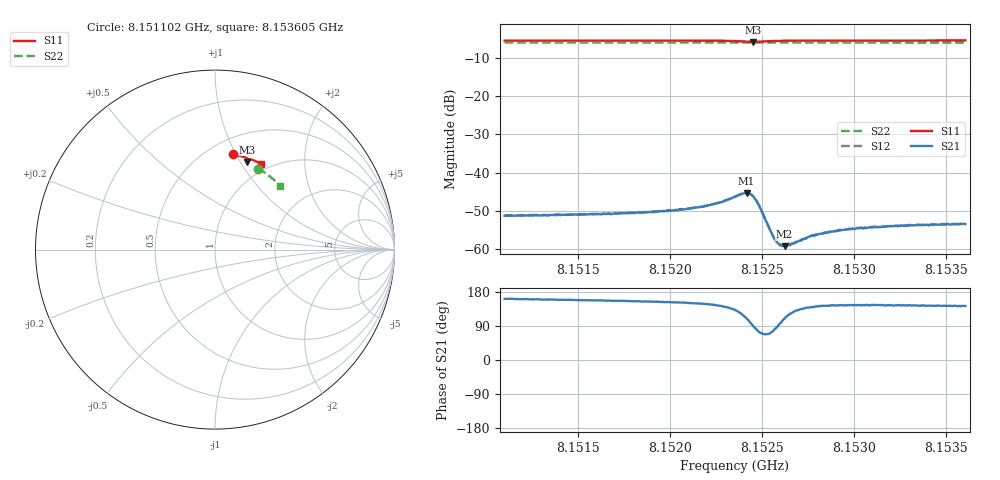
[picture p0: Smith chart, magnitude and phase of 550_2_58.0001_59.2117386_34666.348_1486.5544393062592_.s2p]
#  HZ  S  RI  R  50.00
! Rohde & Schwarz Vector Network Analyzer
! Rohde-Schwarz,ZNB20-2Port,1311601062101988,3.16
! Created: UTC 3/21/2024, 1:14:58 AM
! freq[Hz]  re:S11  im:S11  re:S21  im:S21  re:S12  im:S12  re:S22  im:S22
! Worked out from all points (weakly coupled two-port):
!   401 points, 8.151102 GHz to 8.153605 GHz, reference 50 ohm
!   highest |S21| = -45.37 dB at 8.152416 GHz (marker M1); lowest = -59.3 dB at 8.152622 GHz (marker M2)
!   lowest |S11| = -5.7 dB at 8.152453 GHz (marker M3), VSWR 3.17, Z = 40 + j53.6 ohm
!   |S11| at or under -10 dB: nowhere
!   |S22| runs from -5.9 to -5.8 dB; largest |S21 - S12| = 0.00013
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8.1511016e9  0.0975 0.5306  -0.00256 0.000871  -0.00255 0.000889  0.2397 0.4518
8.1515208e9  0.1268 0.525  -0.00261 0.00108  -0.00261 0.00111  0.2628 0.4379
8.1519401e9  0.156 0.5174  -0.00276 0.00136  -0.00273 0.00145  0.2851 0.4232
8.1520778e9  0.1661 0.5141  -0.00288 0.00157  -0.00288 0.00162  0.2924 0.4179
8.1521717e9  0.1732 0.5115  -0.00303 0.00185  -0.00299 0.0019  0.2971 0.4143
8.1522718e9  0.1814 0.507  -0.00323 0.00245  -0.0032 0.00251  0.3024 0.4104
8.1523532e9  0.1877 0.4998  -0.00323 0.00357  -0.00317 0.00364  0.3063 0.4068
8.1524158e9  0.1867 0.4903  -0.00184 0.00506  -0.00176 0.00509  0.3092 0.4041
8.1524345e9  0.1836 0.4884  -0.000872 0.00515  -0.000822 0.00521  0.31 0.4036
8.1524533e9  0.18 0.4888  8.32e-05 0.00481  0.000154 0.00487  0.3106 0.4029
8.1524846e9  0.1764 0.4934  0.001 0.00349  0.00105 0.00353  0.3121 0.4019
8.1525472e9  0.1809 0.5016  0.000517 0.0016  0.000532 0.0016  0.3153 0.3998
8.1525659e9  0.1831 0.5025  0.000243 0.00135  0.000287 0.00133  0.3164 0.399
8.1525785e9  0.1847 0.5031  0.000107 0.00125  9.79e-05 0.00125  0.3169 0.3985
8.1525972e9  0.1868 0.5035  -0.000129 0.0011  -6.93e-05 0.00114  0.3179 0.3977
8.1526223e9  0.1894 0.5035  -0.000351 0.00102  -0.000333 0.00104  0.3191 0.3969
8.1526598e9  0.1931 0.5033  -0.000638 0.000961  -0.000641 0.000968  0.3212 0.3953
8.1527725e9  0.2028 0.5012  -0.00115 0.000948  -0.00113 0.000944  0.3265 0.3905
8.1528538e9  0.209 0.4993  -0.00131 0.000965  -0.0013 0.000979  0.3304 0.3871
8.1529665e9  0.2168 0.4965  -0.00146 0.00104  -0.00146 0.00105  0.3359 0.3823
8.1531918e9  0.232 0.4901  -0.00163 0.00113  -0.00161 0.00116  0.3462 0.3724
8.1536048e9  0.2584 0.4776  -0.00167 0.00128  -0.00167 0.0013  0.3644 0.3538
